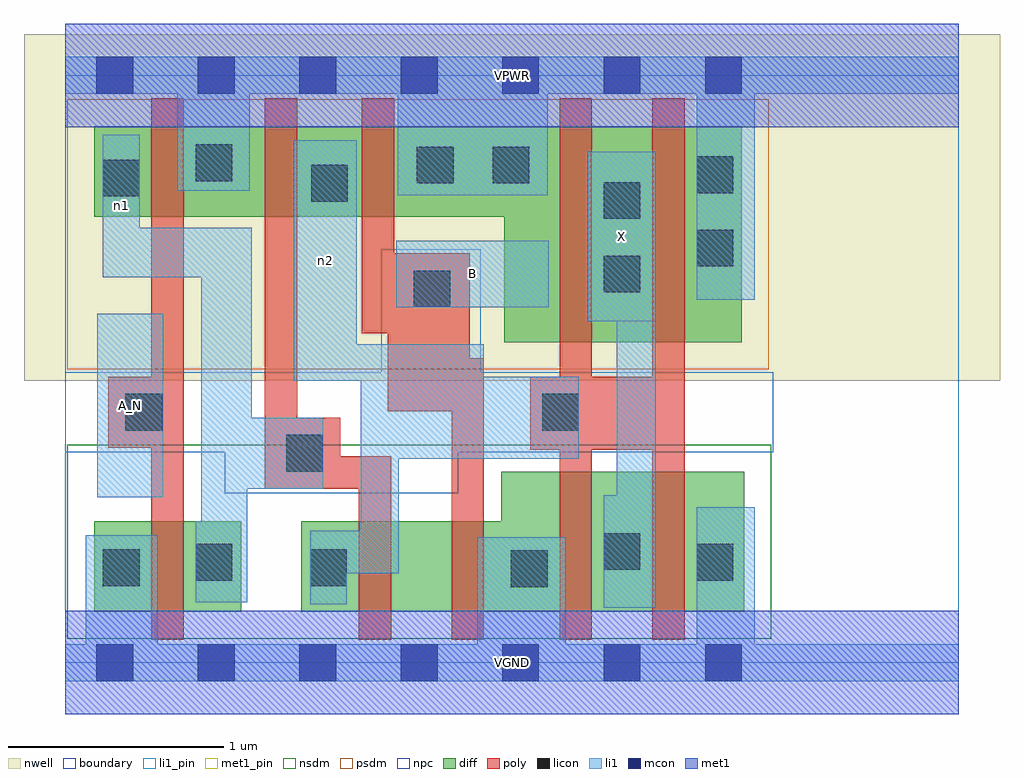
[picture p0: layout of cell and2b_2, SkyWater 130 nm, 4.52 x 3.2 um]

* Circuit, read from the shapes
.subckt and2b_2 A_N B VGND VPWR X n1 n2
XM1 n1 A_N VGND VSUBS sky130_fd_pr__nfet_01v8 w=0.42 l=0.15
XM2 n3 n1 n2 VSUBS sky130_fd_pr__nfet_01v8 w=0.42 l=0.15
XM3 VGND B n3 VSUBS sky130_fd_pr__nfet_01v8 w=0.42 l=0.15
XM4 X n2 VGND VSUBS sky130_fd_pr__nfet_01v8 w=0.65 l=0.15 m=2
XM5 VPWR A_N n1 n4 sky130_fd_pr__pfet_01v8 w=0.42 l=0.15
XM6 n2 n1 VPWR n4 sky130_fd_pr__pfet_01v8 w=0.42 l=0.15
XM7 VPWR B n2 n4 sky130_fd_pr__pfet_01v8 w=0.42 l=0.15
XM8 X n2 VPWR n4 sky130_fd_pr__pfet_01v8 w=1 l=0.15 m=2
.ends

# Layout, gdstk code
import gdstk
lib = gdstk.Library(unit=1e-6, precision=1e-09)
def R(c, l, rs):  # rectangles x0, y0, x1, y1
    for r in rs: c.add(gdstk.rectangle(r[:2], r[2:], *l))
def A(c, l, x, y, w, h, nx, ny, dx, dy):  # array of equal rectangles
    R(c, l, [(x+i*dx, y+j*dy, x+i*dx+w, y+j*dy+h) for i in range(nx) for j in range(ny)])
nwell = (64, 20)
diff = (65, 20)
poly = (66, 20)
licon = (66, 44)
li1_pin = (67, 16)
li1 = (67, 20)
mcon = (67, 44)
met1_pin = (68, 16)
met1 = (68, 20)
nsdm = (93, 44)
psdm = (94, 20)
npc = (95, 20)
boundary = (235, 4)

and2b_2 = lib.new_cell('and2b_2')
R(and2b_2, nwell, [(-0.19,1.305,4.33,2.91), (0,1.305,4.14,2.91)])
R(and2b_2, diff, [(0.135,0.235,0.815,0.655), (1.095,0.235,3.145,0.655), (2.02,0.235,3.145,0.885), (2.035,1.485,3.135,2.485), (0.135,2.065,3.135,2.485)])
R(and2b_2, poly, [(0.4,0.105,0.55,2.615), (1.36,0.105,1.51,0.955), (1.79,0.105,1.94,1.41), (2.29,0.105,2.44,2.615), (2.72,0.105,2.87,2.615), (0.925,0.805,1.275,1.135), (0.925,0.805,1.075,2.615), (0.925,0.805,1.51,0.955), (2.155,0.985,2.87,1.325), (0.2,0.995,0.55,1.325), (1.495,1.165,1.875,1.895), (1.375,1.525,1.525,2.615)])
R(and2b_2, licon, [(2.065,0.35,2.235,0.52), (0.175,0.355,0.345,0.525), (1.135,0.355,1.305,0.525), (0.605,0.38,0.775,0.55), (2.925,0.38,3.095,0.55), (2.495,0.43,2.665,0.6), (1.025,0.885,1.195,1.055), (0.28,1.075,0.45,1.245), (2.21,1.075,2.38,1.245), (1.615,1.645,1.785,1.815), (2.495,1.715,2.665,1.885), (2.925,1.835,3.095,2.005), (2.495,2.055,2.665,2.225), (1.14,2.135,1.31,2.305), (0.175,2.16,0.345,2.33), (2.925,2.175,3.095,2.345), (1.63,2.22,1.8,2.39), (1.98,2.22,2.15,2.39), (0.605,2.23,0.775,2.4)])
R(and2b_2, li1_pin, [(0.15,0.765,0.455,1.615), (2.42,1.58,2.735,2.365), (1.535,1.645,2.24,1.955)])
R(and2b_2, li1, [(0,-0.085,4.14,0.085), (0.095,-0.085,0.43,0.59), (1.91,-0.085,2.32,0.58), (2.925,-0.085,3.195,0.72), (2.495,0.255,2.735,0.775), (2.555,0.255,2.735,2.365), (1.135,0.27,1.305,0.61), (0.605,0.28,0.845,0.655), (0.63,0.28,0.845,2.015), (1.135,0.415,1.545,0.61), (1.37,0.415,1.545,1.475), (0.15,0.765,0.455,1.615), (0.63,0.805,1.195,1.135), (0.63,0.805,0.865,2.015), (1.37,0.945,2.38,1.325), (1.06,1.305,1.35,2.42), (1.06,1.305,1.94,1.475), (2.42,1.58,2.735,2.365), (1.535,1.645,2.24,1.955), (2.925,1.68,3.195,2.805), (0.175,1.785,0.345,2.445), (0.175,1.785,0.865,2.015), (1.54,2.165,2.235,2.805), (0.52,2.185,0.855,2.805), (0,2.635,4.14,2.805)])
A(and2b_2, mcon, 0.145, -0.085, 0.17, 0.17, 7, 2, 0.47, 2.72)
R(and2b_2, met1_pin, [(0,-0.24,4.14,0.24), (0,2.48,4.14,2.96)])
R(and2b_2, met1, [(0,-0.24,4.14,0.24), (0,2.48,4.14,2.96)])
R(and2b_2, nsdm, [(0.01,0.11,3.27,1.01)])
R(and2b_2, psdm, [(0.01,1.36,3.26,2.61)])
R(and2b_2, npc, [(0.74,0.785,1.82,1.345), (0,0.975,3.28,1.345), (1.465,0.975,1.925,1.915)])
R(and2b_2, boundary, [(0,0,4.14,2.72)])
and2b_2.add(gdstk.Label('A_N', (0.302,1.19), layer=67, texttype=5))
and2b_2.add(gdstk.Label('B', (1.887,1.8), layer=67, texttype=5))
and2b_2.add(gdstk.Label('X', (2.577,1.972), layer=67, texttype=5))
and2b_2.add(gdstk.Label('n2', (1.205,1.862), layer=67, texttype=5))
and2b_2.add(gdstk.Label('n1', (0.26,2.115), layer=67, texttype=5))
and2b_2.add(gdstk.Label('VPWR', (2.07,2.72), layer=68, texttype=5))
and2b_2.add(gdstk.Label('VGND', (2.07,0), layer=68, texttype=5))
and2b_2.add(gdstk.Label('A_N', (0.302,1.19), layer=67, texttype=16))
and2b_2.add(gdstk.Label('B', (1.887,1.8), layer=67, texttype=16))
and2b_2.add(gdstk.Label('X', (2.577,1.972), layer=67, texttype=16))
and2b_2.add(gdstk.Label('VPWR', (2.07,2.72), layer=68, texttype=16))
and2b_2.add(gdstk.Label('VGND', (2.07,0), layer=68, texttype=16))

lib.write_gds('and2b_2.gds')
